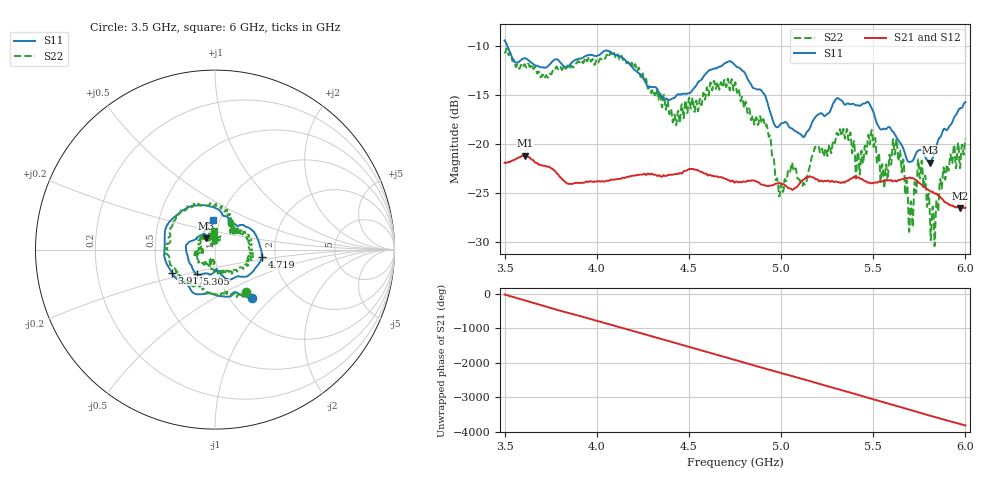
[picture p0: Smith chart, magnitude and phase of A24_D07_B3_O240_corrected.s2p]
! Created with skrf 1.9.0 (http://scikit-rf.org).
# Hz S RI R 50.0
!freq ReS11 ImS11 ReS21 ImS21 ReS12 ImS12 ReS22 ImS22
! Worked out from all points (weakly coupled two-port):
!   1601 points, 3.5 GHz to 6 GHz, reference 50 ohm
!   highest |S21| = -21.19 dB at 3.611 GHz (marker M1); lowest = -26.5 dB at 5.972 GHz (marker M2)
!   lowest |S11| = -21.9 dB at 5.808 GHz (marker M3), VSWR 1.17, Z = 45 + j5.78 ohm
!   |S11| at or under -10 dB: 3.515 GHz to end of sweep
!   |S22| runs from -30.4 to -10.3 dB; largest |S21 - S12| = 0.00098
!   S11 on the Smith chart (normalised r, x): 3.5 GHz: 1.26, -0.76; 3.911 GHz: 0.60, -0.16; 4.719 GHz: 1.70, -0.16; 5.305 GHz: 0.79, -0.22; 6 GHz: 0.93, +0.31
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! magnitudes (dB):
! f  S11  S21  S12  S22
! 3.5 GHz  -9.4  -21.9  -21.9  -10.6
! 3.611 GHz  -11.3  -21.2  -21.2  -11.9
! 3.911 GHz  -11.3  -24.0  -23.9  -11.6
! 3.917 GHz  -11.3  -24.0  -24.0  -11.4
! 4.142 GHz  -11.3  -23.5  -23.5  -11.4
! 4.334 GHz  -14.7  -23.2  -23.2  -15.5
! 4.423 GHz  -15.3  -23.1  -23.1  -17.0
! 4.719 GHz  -11.6  -23.7  -23.8  -14.3
! 4.75 GHz  -12.0  -23.9  -23.9  -13.8
! 4.914 GHz  -15.1  -24.3  -24.2  -18.3
! 4.998 GHz  -18.0  -24.0  -24.0  -24.2
! 5.167 GHz  -17.9  -23.4  -23.4  -21.3
! 5.305 GHz  -15.3  -23.9  -23.8  -18.9
! 5.417 GHz  -16.1  -23.4  -23.5  -20.8
! 5.5 GHz  -16.7  -24.0  -23.9  -20.1
! 5.584 GHz  -18.3  -23.7  -23.7  -21.8
! 5.636 GHz  -19.6  -23.7  -23.7  -21.7
! 5.703 GHz  -21.8  -23.5  -23.5  -25.9
! 5.755 GHz  -20.6  -24.1  -24.0  -23.4
! 5.808 GHz  -21.9  -24.8  -24.8  -27.7
! 5.972 GHz  -16.4  -26.5  -26.5  -22.3
! 6 GHz  -15.7  -26.5  -26.5  -19.5
